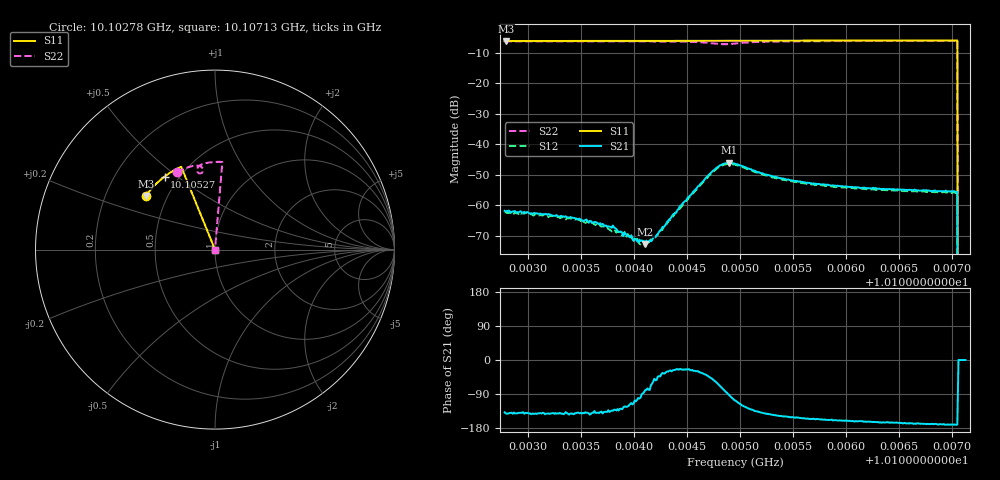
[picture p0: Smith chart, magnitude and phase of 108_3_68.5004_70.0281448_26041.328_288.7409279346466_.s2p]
#  HZ  S  RI  R  50.00
! Rohde & Schwarz Vector Network Analyzer
! Rohde-Schwarz,ZNB20-2Port,1311601062101988,3.16
! Created: UTC 3/20/2024, 4:53:21 PM
! freq[Hz]  re:S11  im:S11  re:S21  im:S21  re:S12  im:S12  re:S22  im:S22
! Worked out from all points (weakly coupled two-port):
!   401 points, 10.10278 GHz to 10.10713 GHz, reference 50 ohm
!   highest |S21| = -46.12 dB at 10.1049 GHz (marker M1); lowest = -72.7 dB at 10.10411 GHz (marker M2)
!   lowest |S11| = -6.2 dB at 10.10279 GHz (marker M3), VSWR 2.90, Z = 19 + j14.9 ohm
!   |S11| at or under -10 dB: 10.10705 GHz to end of sweep
!   |S22| runs from - to -6.2 dB; largest |S21 - S12| = 0.00049
!   S11 on the Smith chart (normalised r, x): 10.10278 GHz: 0.38, +0.30; 10.10527 GHz: 0.42, +0.45; 10.10713 GHz: 1.00, +0.00
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1.0102782e10  -0.3855 0.2988  -0.000604 -0.000542  -0.000547 -0.000544  -0.211 0.4312
1.0102793e10  -0.3851 0.2993  -0.000614 -0.0005  -0.000515 -0.000567  -0.2103 0.4317
1.0103162e10  -0.3717 0.3175  -0.00057 -0.000426  -0.000503 -0.000485  -0.1884 0.4426
1.010351e10  -0.3584 0.3339  -0.000447 -0.000355  -0.000412 -0.000371  -0.1666 0.4521
1.0103803e10  -0.3466 0.3473  -0.000323 -0.000334  -0.000252 -0.000311  -0.1472 0.4593
1.0103934e10  -0.3412 0.3531  -0.00018 -0.000268  -0.000144 -0.000269  -0.1381 0.462
1.0104021e10  -0.3375 0.3569  -9.33e-05 -0.000267  -4.71e-05 -0.000256  -0.1318 0.4638
1.0104086e10  -0.3347 0.3597  8.01e-06 -0.00026  2.53e-05 -0.000237  -0.1268 0.4649
1.0104108e10  -0.3339 0.3608  4.22e-05 -0.000228  6.11e-05 -0.000205  -0.1252 0.4653
1.0104151e10  -0.3319 0.3625  5.12e-05 -0.00026  0.000128 -0.000228  -0.1217 0.466
1.0104238e10  -0.3282 0.3663  0.000266 -0.000248  0.000262 -0.00021  -0.1146 0.4671
1.0104455e10  -0.3185 0.3753  0.000941 -0.000445  0.000913 -0.000325  -0.0943 0.4675
1.0104727e10  -0.3061 0.3863  0.00228 -0.00248  0.00243 -0.00218  -0.0664 0.4455
1.0104814e10  -0.3022 0.3896  0.00165 -0.00418  0.00195 -0.00385  -0.0716 0.4292
1.0104901e10  -0.2984 0.3929  -0.000276 -0.00494  0.000161 -0.00476  -0.0898 0.4257
1.0104955e10  -0.2959 0.3949  -0.00138 -0.00457  -0.00094 -0.00452  -0.0978 0.4327
1.010527e10  -0.2811 0.407  -0.00248 -0.00189  -0.00222 -0.00201  -0.0848 0.4688
1.0105683e10  -0.2606 0.4214  -0.00204 -0.000922  -0.0019 -0.00107  -0.0523 0.4817
1.0106411e10  -0.2229 0.4445  -0.00179 -0.000471  -0.00164 -0.000619  -0.00159 0.4884
1.0107031e10  -0.1894 0.4612  -0.00165 -0.000282  -0.00154 -0.000418  0.0397 0.4887
1.0107085e10  0 0  0 0  0 0  0 0
1.0107128e10  0 0  0 0  0 0  0 0
